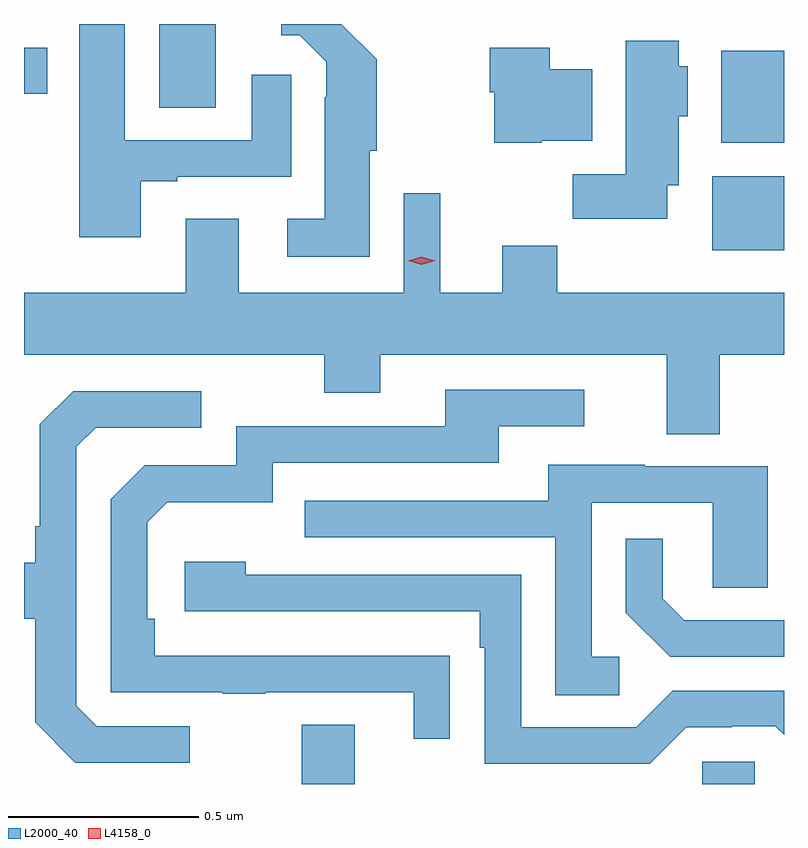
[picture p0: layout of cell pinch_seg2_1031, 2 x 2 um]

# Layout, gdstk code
import gdstk
lib = gdstk.Library(unit=1e-6, precision=1e-09)
def R(c, l, rs):  # rectangles x0, y0, x1, y1
    for r in rs: c.add(gdstk.rectangle(r[:2], r[2:], *l))
def P(c, l, *ps):  # polygons
    for p in ps: c.add(gdstk.Polygon(p, *l))
L2000_40 = (2000, 40)
L4158_0 = (4158, 0)

pinch_seg2_1031 = lib.new_cell('pinch_seg2_1031')
R(pinch_seg2_1031, L2000_40, [(155.969,607.879,156.109,608.035), (157.023,607.879,157.161,607.938), (157.049,609.284,157.238,609.478), (157.073,609.566,157.238,609.808), (155.594,609.658,155.743,609.879), (155.238,609.695,155.299,609.817)])
P(pinch_seg2_1031, L2000_40, [(156.148,609.546),(156.166,609.546),(156.166,609.786),(156.073,609.879),(155.915,609.879),(155.915,609.85),(155.963,609.85),(156.033,609.78),(156.033,609.686),(156.029,609.686),(156.029,609.367),(155.931,609.367),(155.931,609.266),(156.148,609.266)],
  [(155.545,609.465),(155.641,609.465),(155.641,609.477),(155.941,609.477),(155.941,609.745),(155.837,609.745),(155.837,609.573),(155.503,609.573),(155.503,609.879),(155.384,609.879),(155.384,609.318),(155.545,609.318)],
  [(156.931,609.455),(156.961,609.455),(156.961,609.636),(156.985,609.636),(156.985,609.768),(156.961,609.768),(156.961,609.835),(156.821,609.835),(156.821,609.484),(156.682,609.484),(156.682,609.366),(156.931,609.366)],
  [(156.6,609.572),(156.733,609.572),(156.733,609.76),(156.622,609.76),(156.622,609.817),(156.464,609.817),(156.464,609.699),(156.475,609.699),(156.475,609.566),(156.6,609.566)],
  [(157.069,609.008),(157.238,609.008),(157.238,609.172),(156.641,609.172),(156.641,609.296),(156.497,609.296),(156.497,609.172),(156.334,609.172),(156.334,609.433),(156.237,609.433),(156.237,609.172),(155.803,609.172),(155.803,609.367),(155.663,609.367),(155.663,609.172),(155.238,609.172),(155.238,609.008),(156.028,609.008),(156.028,608.909),(156.175,608.909),(156.175,609.008),(156.929,609.008),(156.929,608.8),(157.069,608.8)],
  [(156.359,608.216),(156.257,608.216),(156.257,608.217),(155.582,608.217),(155.582,608.314),(155.562,608.314),(155.562,608.568),(155.615,608.621),(155.892,608.621),(155.892,608.724),(156.487,608.724),(156.487,608.82),(156.712,608.82),(156.712,608.916),(156.347,608.916),(156.347,608.82),(155.796,608.82),(155.796,608.718),(155.556,608.718),(155.466,608.628),(155.466,608.121),(155.761,608.121),(155.761,608.116),(155.873,608.116),(155.873,608.121),(156.263,608.121),(156.263,607.998),(156.359,607.998)],
  [(155.674,608.031),(155.43,608.031),(155.376,608.085),(155.376,608.766),(155.427,608.817),(155.704,608.817),(155.704,608.913),(155.367,608.913),(155.28,608.826),(155.28,608.557),(155.268,608.557),(155.268,608.461),(155.238,608.461),(155.238,608.314),(155.268,608.314),(155.268,608.041),(155.373,607.935),(155.674,607.935)],
  [(156.805,608.214),(156.732,608.214),(156.732,608.619),(157.05,608.619),(157.05,608.395),(157.195,608.395),(157.195,608.715),(156.871,608.715),(156.871,608.719),(156.617,608.719),(156.617,608.625),(155.977,608.625),(155.977,608.529),(156.636,608.529),(156.636,608.113),(156.805,608.113)],
  [(157.238,608.31),(156.976,608.31),(156.919,608.367),(156.919,608.524),(156.822,608.524),(156.822,608.33),(156.938,608.214),(157.238,608.214)],
  [(156.981,608.028),(157.1,608.028),(157.1,608.031),(157.215,608.031),(157.238,608.008),(157.238,608.124),(156.945,608.124),(156.849,608.028),(156.546,608.028),(156.546,608.43),(155.822,608.43),(155.822,608.464),(155.661,608.464),(155.661,608.334),(156.437,608.334),(156.437,608.237),(156.45,608.237),(156.45,607.932),(156.885,607.932)])
P(pinch_seg2_1031, L4158_0, [(156.284,609.246),(156.249,609.256),(156.248,609.256),(156.249,609.256),(156.284,609.266),(156.32,609.256),(156.32,609.256),(156.32,609.256)])

lib.write_gds('pinch_seg2_1031.gds')
